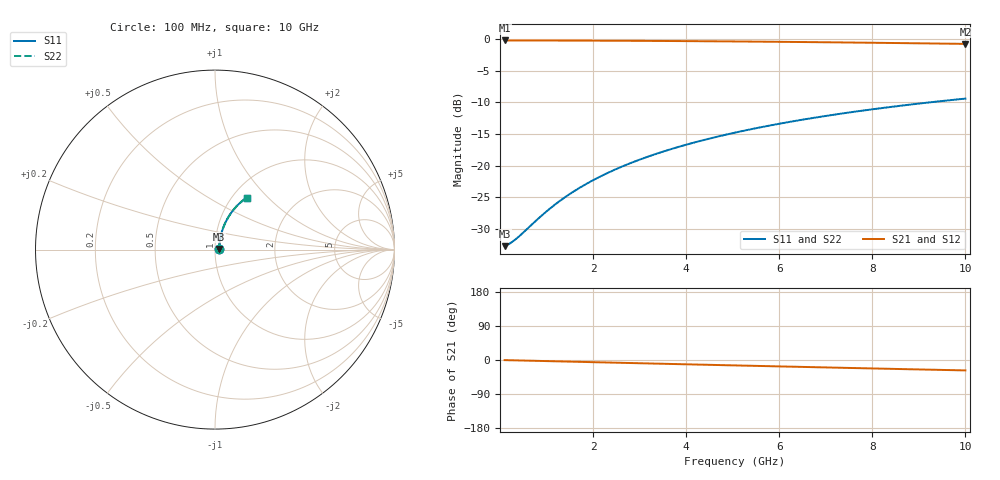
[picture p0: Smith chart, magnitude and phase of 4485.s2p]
# Hz S RI R 50.00
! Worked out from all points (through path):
!   100 points, 100 MHz to 10 GHz, reference 50 ohm
!   highest |S21| = -0.20 dB at 100 MHz (marker M1); lowest = -0.7 dB at 10 GHz (marker M2)
!   group delay of S21, straight-line fit = 7.65 ps
!   lowest |S11| = -32.7 dB at 100 MHz (marker M3), VSWR 1.05, Z = 52.3 + j0.372 ohm
!   |S11| at or under -10 dB: start of sweep to 9.223 GHz
!   |S22| runs from -32.7 to -9.4 dB; largest |S21 - S12| = 0
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1e8  0.0228 0.00355  0.9772 -0.00488  0.9772 -0.00488  0.0228 0.00355
2e8  0.023 0.0071  0.977 -0.00975  0.977 -0.00975  0.023 0.0071
3e8  0.0232 0.0106  0.9768 -0.0146  0.9768 -0.0146  0.0232 0.0106
5e8  0.0237 0.0177  0.9763 -0.0244  0.9763 -0.0244  0.0237 0.0177
9e8  0.0249 0.0318  0.975 -0.0438  0.975 -0.0438  0.0249 0.0318
1.2e9  0.0261 0.0424  0.9737 -0.0583  0.9737 -0.0583  0.0261 0.0424
1.5e9  0.0277 0.0529  0.9721 -0.0728  0.9721 -0.0728  0.0277 0.0529
1.8e9  0.0295 0.0633  0.9702 -0.0872  0.9702 -0.0872  0.0295 0.0633
2.1e9  0.0316 0.0737  0.968 -0.1016  0.968 -0.1016  0.0316 0.0737
2.5e9  0.0349 0.0874  0.9645 -0.1206  0.9645 -0.1206  0.0349 0.0874
2.9e9  0.0387 0.1009  0.9605 -0.1394  0.9605 -0.1394  0.0387 0.1009
3.4e9  0.0442 0.1174  0.9547 -0.1627  0.9547 -0.1627  0.0442 0.1174
3.8e9  0.0492 0.1305  0.9495 -0.181  0.9495 -0.181  0.0492 0.1305
4.2e9  0.0546 0.1432  0.9437 -0.1991  0.9437 -0.1991  0.0546 0.1432
4.6e9  0.0605 0.1557  0.9375 -0.2169  0.9375 -0.2169  0.0605 0.1557
5.1e9  0.0686 0.1709  0.929 -0.2388  0.929 -0.2388  0.0686 0.1709
5.9e9  0.0828 0.1942  0.914 -0.2728  0.914 -0.2728  0.0828 0.1942
6.7e9  0.0985 0.216  0.8974 -0.3054  0.8974 -0.3054  0.0985 0.216
7.5e9  0.1157 0.2364  0.8792 -0.3365  0.8792 -0.3365  0.1157 0.2364
8.4e9  0.1364 0.2574  0.8571 -0.3696  0.8571 -0.3696  0.1364 0.2574
9.2e9  0.156 0.2743  0.8363 -0.3973  0.8363 -0.3973  0.156 0.2743
1e10  0.1764 0.2895  0.8144 -0.4234  0.8144 -0.4234  0.1764 0.2895
